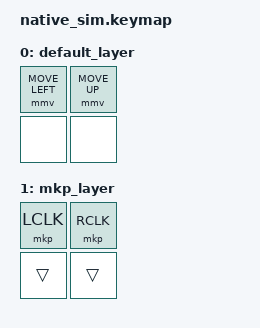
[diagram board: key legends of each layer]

#include <dt-bindings/zmk/input_transform.h>
#include <zephyr/dt-bindings/input/input-event-codes.h>

#include <behaviors.dtsi>
#include <input/processors.dtsi>
#include <dt-bindings/zmk/keys.h>
#include <dt-bindings/zmk/input_mock.h>
#include <dt-bindings/zmk/pointing.h>

&mmv_input_listener {
    input-processors = <&auto_mouse_layer 1 0>;
};

/ {
    auto_mouse_layer: auto_mouse_layer {
        compatible = "zmk,input-processor-temp-layer";
        #input-processor-cells = <2>;
        excluded-positions = <0>;
    };
    keymap {
        compatible = "zmk,keymap";
        label ="Default keymap";

        default_layer {
            bindings = <
                &mmv MOVE_LEFT &mmv MOVE_UP
                &none &none
            >;
        };

        mkp_layer {
            bindings = <&mkp LCLK &mkp RCLK &trans &trans>;
        };
    };
};


&mock_input {
    events = <
        ZMK_INPUT_MOCK_PRESS(0,0,100)
        ZMK_INPUT_MOCK_RELEASE(0,0,150)
        ZMK_INPUT_MOCK_PRESS(1,0,200)
        ZMK_INPUT_MOCK_RELEASE(1,0,250)
    >;
};
